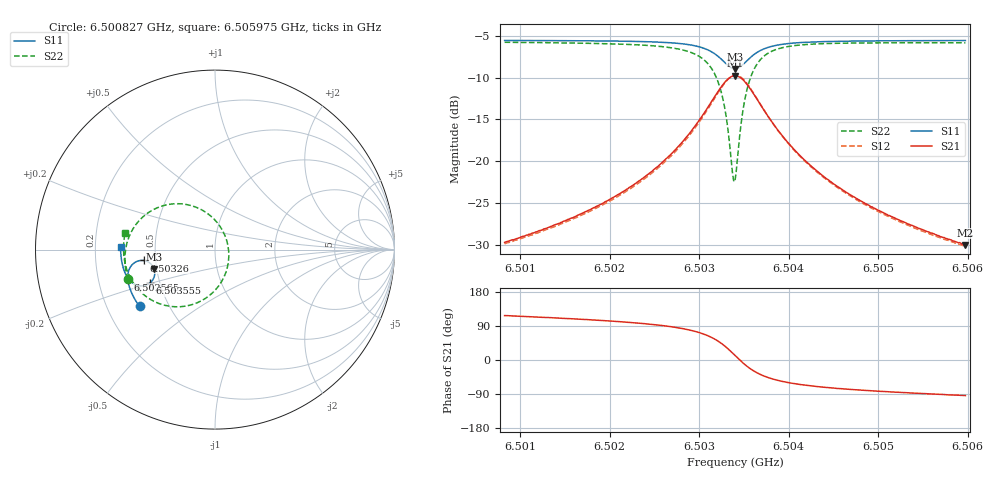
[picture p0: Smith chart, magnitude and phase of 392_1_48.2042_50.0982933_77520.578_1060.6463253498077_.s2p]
#  HZ  S  RI  R  50.00
! Rohde & Schwarz Vector Network Analyzer
! Rohde-Schwarz,ZNB20-2Port,1311601062101988,3.16
! Created: UTC 3/20/2024, 11:53:39 AM
! freq[Hz]  re:S11  im:S11  re:S21  im:S21  re:S12  im:S12  re:S22  im:S22
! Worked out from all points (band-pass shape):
!   401 points, 6.500827 GHz to 6.505975 GHz, reference 50 ohm
!   highest |S21| = -9.79 dB at 6.503401 GHz (marker M1); lowest = -30.0 dB at 6.505975 GHz (marker M2)
!   |S21| within 3 dB of the highest: 6.503144 GHz to 6.503658 GHz (514.1 kHz wide, 0.00791 % of centre)
!   lowest |S11| = -9.0 dB at 6.503401 GHz (marker M3), VSWR 2.11, Z = 24.2 - j6.06 ohm
!   |S11| at or under -10 dB: nowhere
!   |S22| runs from -22.5 to -5.8 dB; largest |S21 - S12| = 0.011
!   S11 on the Smith chart (normalised r, x): 6.500827 GHz: 0.34, -0.30; 6.502565 GHz: 0.33, -0.15; 6.50326 GHz: 0.43, -0.06; 6.503555 GHz: 0.44, -0.20; 6.505975 GHz: 0.31, +0.01
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6.5008275e9  -0.4206 -0.3167  -0.0149 0.0291  -0.0133 0.0292  -0.4861 -0.1656
6.5016896e9  -0.4584 -0.2542  -0.0146 0.0465  -0.0122 0.0461  -0.5014 -0.0757
6.50214e9  -0.4748 -0.215  -0.0121 0.0642  -0.00916 0.0632  -0.4999 -0.014
6.5025518e9  -0.4853 -0.1707  -0.0032 0.0944  0.000362 0.0921  -0.4814 0.0652
6.5025646e9  -0.4855 -0.1692  -0.00274 0.0957  0.000894 0.0934  -0.4802 0.0684
6.5028091e9  -0.485 -0.134  0.0152 0.1286  0.0191 0.1249  -0.4423 0.1375
6.5029893e9  -0.4738 -0.1008  0.0497 0.1646  0.0528 0.1592  -0.3749 0.2036
6.5031566e9  -0.4395 -0.0677  0.1263 0.1981  0.1276 0.1916  -0.2339 0.2547
6.5032595e9  -0.3971 -0.0606  0.2109 0.1897  0.2112 0.1844  -0.0869 0.228
6.503311e9  -0.3717 -0.0689  0.2591 0.1621  0.2598 0.1577  -0.00696 0.1716
6.5033753e9  -0.3452 -0.0949  0.3067 0.0995  0.3091 0.0947  0.065 0.0512
6.5034011e9  -0.3388 -0.1093  0.317 0.0679  0.3199 0.0622  0.0761 -0.00787
6.5034268e9  -0.3357 -0.1247  0.3206 0.0347  0.324 0.0279  0.0746 -0.0685
6.5034911e9  -0.3427 -0.1614  0.3034 -0.0424  0.3053 -0.0521  0.0207 -0.2022
6.5035555e9  -0.3634 -0.1869  0.2612 -0.0962  0.2601 -0.1071  -0.0742 -0.2843
6.5036584e9  -0.4025 -0.202  0.1877 -0.1321  0.1824 -0.1413  -0.2221 -0.3184
6.5038257e9  -0.4481 -0.1923  0.107 -0.1294  0.1003 -0.1343  -0.3673 -0.2726
6.5040059e9  -0.4754 -0.171  0.0631 -0.1098  0.0571 -0.112  -0.4384 -0.2089
6.5042632e9  -0.496 -0.141  0.0336 -0.086  0.029 -0.0866  -0.4814 -0.1373
6.504675e9  -0.5122 -0.0987  0.014 -0.0622  0.0109 -0.0618  -0.5044 -0.059
6.5051254e9  -0.5211 -0.0576  0.00492 -0.0471  0.00271 -0.0463  -0.5099 0.00282
6.5059747e9  -0.5257 0.0139  -0.00213 -0.0315  -0.00339 -0.0309  -0.5016 0.0911
